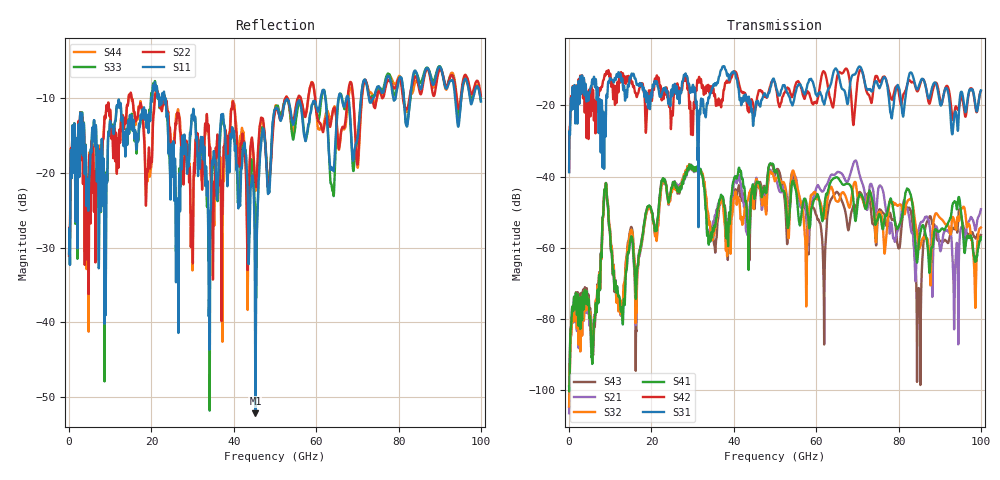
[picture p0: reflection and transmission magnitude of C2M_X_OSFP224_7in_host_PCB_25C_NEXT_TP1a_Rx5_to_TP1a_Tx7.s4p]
# GHz S RI R 45
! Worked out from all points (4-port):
!   4000 points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, 25 MHz to 100 GHz, reference 45 ohm
!   strongest paths, dB at 25 MHz, 25.02 GHz, 50.02 GHz, 75.03 GHz, 100 GHz:
!     S31: -38.8, -17.3, -13.6, -14.3, -15.8
!     S42: -38.6, -21.8, -13.7, -12.6, -15.9
!     S41: -99.0, -43.1, -38.7, -51.7, -57.0
!     S32: -104.7, -44.2, -41.3, -50.3, -54.3
!     S21: -106.6, -43.7, -40.8, -44.0, -49.2
!     S43: -104.6, -43.5, -39.4, -51.0, -56.5
!   lowest |S11| = -52.2 dB at 45.25 GHz (marker M1), VSWR 1.00, Z = 45.2 - j0.0263 ohm
!   |S11| at or under -10 dB: start of sweep to 19.95 GHz; 23.47 GHz to 61.09 GHz (37.62 GHz wide, 89 % of centre); 62.25 GHz to 65.43 GHz (3.179 GHz wide, 4.98 % of centre) (the widest 3 of 16)
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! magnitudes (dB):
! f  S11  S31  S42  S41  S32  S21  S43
! 25 MHz  -30.8  -38.8  -38.6  -99.0  -104.7  -106.6  -104.6
! 6.275 GHz  -16.2  -14.8  -19.3  -80.5  -79.6  -79.0  -82.0
! 8.9 GHz  -39.0  -26.9  -11.5  -42.1  -42.3  -42.3  -42.2
! 12.68 GHz  -12.2  -13.1  -10.7  -77.6  -77.3  -77.8  -77.9
! 22.85 GHz  -10.1  -15.4  -17.2  -40.5  -41.4  -41.3  -40.5
! 45.25 GHz  -52.2  -20.9  -21.0  -43.3  -42.7  -41.6  -46.0
! 100 GHz  -10.4  -15.8  -15.9  -57.0  -54.3  -49.2  -56.5
